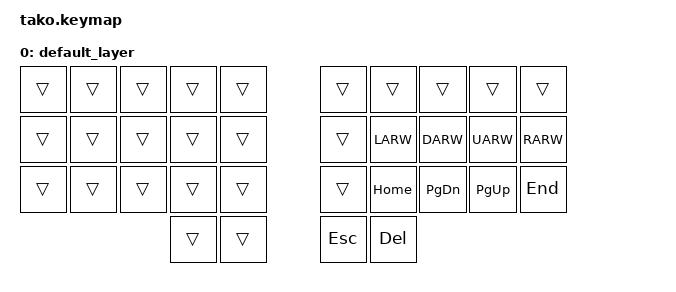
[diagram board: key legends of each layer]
/*
 * Copyright (c) 2020 The ZMK Contributors
 *
 * SPDX-License-Identifier: MIT
 */

#include <behaviors.dtsi>
#include <dt-bindings/zmk/keys.h>
#include <dt-bindings/zmk/bt.h>

/ {

    keymap {
        compatible = "zmk,keymap";

        default_layer {
            bindings = <
                &trans     &trans     &trans      &trans          &trans       &trans           &trans         &trans      &trans     &trans
                &trans     &trans     &trans      &trans          &trans       &trans           &kp LARW       &kp DARW    &kp UARW   &kp RARW
                &trans     &trans     &trans      &trans          &trans       &trans           &kp HOME       &kp PG_DN   &kp PG_UP  &kp END
                                                  &trans          &trans       &kp ESC          &kp DEL
            >;
        };

        extra1 {
            status = "reserved";
        };
    };
};
